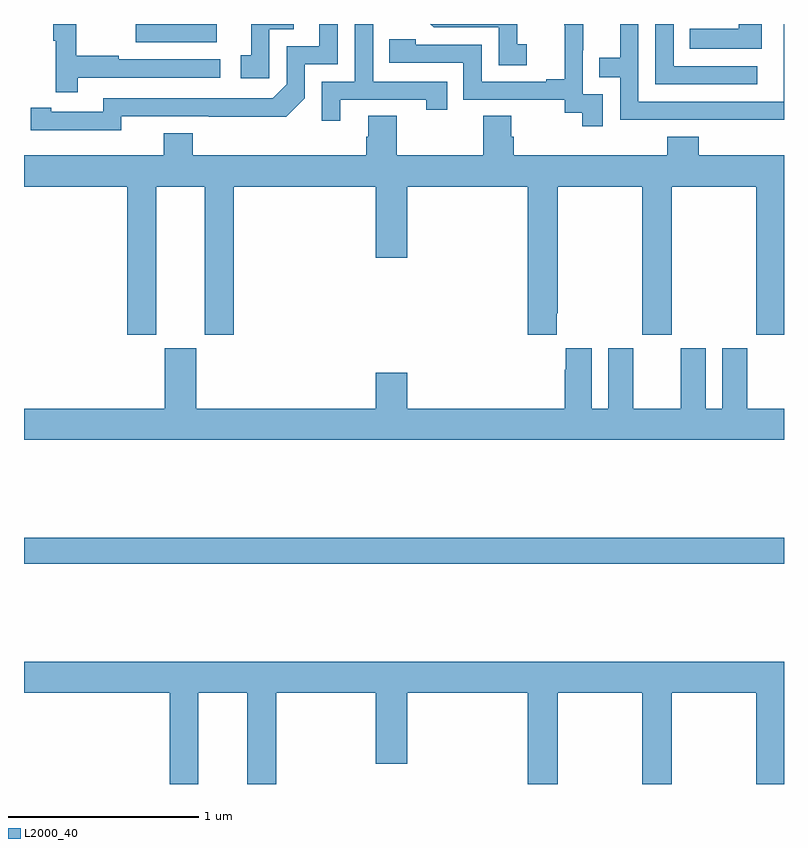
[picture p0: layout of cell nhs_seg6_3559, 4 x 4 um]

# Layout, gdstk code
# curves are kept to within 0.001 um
import gdstk
lib = gdstk.Library(unit=1e-6, precision=1e-09)
def R(c, l, rs):  # rectangles x0, y0, x1, y1
    for r in rs: c.add(gdstk.rectangle(r[:2], r[2:], *l))
def P(c, l, *ps):  # polygons
    for p in ps: c.add(gdstk.Polygon(p, *l))
L2000_40 = (2000, 40)

nhs_seg6_3559 = lib.new_cell('nhs_seg6_3559')
R(nhs_seg6_3559, L2000_40, [(319,970.66,323,970.796), (319.587,973.403,320.014,973.5)])
P(nhs_seg6_3559, L2000_40, [(321.646,973.393),(321.597,973.393),(321.597,973.5),(321.138,973.5),(321.156,973.482),(321.498,973.482),(321.498,973.284),(321.646,973.284)],
  [(323,973.5),(322.998,973.5),(322.998,973.092),(322.233,973.092),(322.233,973.5),(322.137,973.5),(322.137,973.322),(322.027,973.322),(322.027,973.221),(322.137,973.221),(322.137,972.996),(322.633,972.996),(322.633,972.995),(323,972.995)],
  [(320.292,973.473),(320.421,973.473),(320.421,973.5),(320.195,973.5),(320.195,973.335),(320.142,973.335),(320.142,973.215),(320.292,973.215)],
  [(322.047,973.131),(321.942,973.131),(321.942,973.361),(321.944,973.361),(321.944,973.5),(321.844,973.5),(321.844,973.493),(321.845,973.493),(321.845,973.21),(321.749,973.21),(321.749,973.197),(321.408,973.197),(321.408,973.392),(321.063,973.392),(321.063,973.419),(320.923,973.419),(320.923,973.296),(321.312,973.296),(321.312,973.101),(321.846,973.101),(321.846,973.033),(321.939,973.033),(321.939,972.963),(322.047,972.963)],
  [(322.882,973.5),(322.761,973.5),(322.761,973.474),(322.504,973.474),(322.504,973.37),(322.882,973.37)],
  [(322.858,973.278),(322.419,973.278),(322.419,973.5),(322.323,973.5),(322.323,973.182),(322.858,973.182)],
  [(319.283,973.218),(320.032,973.218),(320.032,973.314),(319.499,973.314),(319.499,973.334),(319.276,973.334),(319.276,973.5),(319.155,973.5),(319.155,973.411),(319.166,973.411),(319.166,973.14),(319.283,973.14)],
  [(319.512,973.014),(320.38,973.013),(320.478,973.11),(320.478,973.287),(320.652,973.287),(320.652,973.5),(320.555,973.5),(320.555,973.383),(320.382,973.383),(320.382,973.182),(320.31,973.11),(319.416,973.11),(319.416,973.038),(319.144,973.038),(319.144,973.058),(319.036,973.058),(319.036,972.942),(319.512,972.941)],
  [(320.665,973.101),(321.116,973.101),(321.116,973.05),(321.227,973.05),(321.227,973.197),(320.838,973.197),(320.838,973.5),(320.742,973.5),(320.742,973.197),(320.568,973.197),(320.568,972.99),(320.665,972.99)],
  [(319.696,972.644),(319.952,972.644),(319.952,971.865),(320.105,971.865),(320.105,972.644),(320.852,972.644),(320.852,972.27),(321.016,972.27),(321.016,972.644),(321.65,972.644),(321.65,971.865),(321.805,971.865),(321.805,971.977),(321.81,971.977),(321.81,972.644),(322.255,972.644),(322.255,971.865),(322.41,971.865),(322.41,972.644),(322.855,972.644),(322.855,971.865),(323,971.865),(323,972.808),(322.55,972.808),(322.55,972.907),(322.385,972.907),(322.385,972.808),(321.578,972.808),(321.578,972.906),(321.565,972.906),(321.565,973.016),(321.418,973.016),(321.418,972.808),(320.961,972.808),(320.961,973.016),(320.813,973.016),(320.813,972.906),(320.801,972.906),(320.801,972.808),(319.889,972.808),(319.889,972.925),(319.736,972.925),(319.736,972.808),(319,972.808),(319,972.644),(319.544,972.644),(319.544,971.865),(319.696,971.865)],
  [(323,971.476),(322.807,971.476),(322.807,971.794),(322.676,971.794),(322.676,971.476),(322.588,971.476),(322.588,971.794),(322.457,971.794),(322.457,971.476),(322.207,971.476),(322.207,971.794),(322.076,971.794),(322.076,971.476),(321.988,971.476),(321.988,971.794),(321.851,971.794),(321.851,971.681),(321.845,971.681),(321.845,971.476),(321.016,971.476),(321.016,971.665),(320.852,971.665),(320.852,971.476),(319.906,971.476),(319.906,971.793),(319.742,971.793),(319.742,971.476),(319,971.476),(319,971.312),(323,971.312)],
  [(319.918,969.98),(320.174,969.98),(320.174,969.5),(320.327,969.5),(320.327,969.98),(320.852,969.98),(320.852,969.606),(321.016,969.606),(321.016,969.98),(321.65,969.98),(321.65,969.5),(321.81,969.5),(321.81,969.98),(322.255,969.98),(322.255,969.5),(322.41,969.5),(322.41,969.98),(322.855,969.98),(322.855,969.5),(323,969.5),(323,970.144),(319,970.144),(319,969.98),(319.766,969.98),(319.766,969.5),(319.918,969.5)])

lib.write_gds('nhs_seg6_3559.gds')
